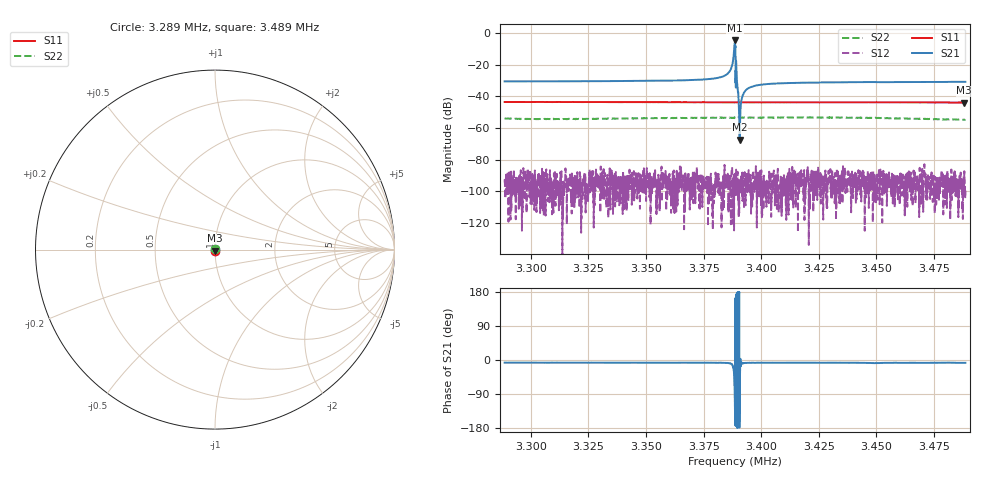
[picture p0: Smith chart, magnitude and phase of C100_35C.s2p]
# Hz S dB R 50.000
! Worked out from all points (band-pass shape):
!   6401 points, 3.289 MHz to 3.489 MHz, reference 50 ohm
!   highest |S21| = -4.72 dB at 3.389 MHz (marker M1); lowest = -67.4 dB at 3.391 MHz (marker M2)
!   |S21| within 3 dB of the highest: 3.38838 MHz to 3.388645 MHz (265.2 Hz wide, 0.00783 % of centre)
!   lowest |S11| = -44.0 dB at 3.488 MHz (marker M3), VSWR 1.01, Z = 49.9 - j0.626 ohm
!   |S11| at or under -10 dB: start of sweep to end of sweep
!   |S22| runs from -54.9 to -53.0 dB; largest |S21 - S12| = 0.58
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3288594  -43.61 -95.0  -30.59 -7.0  -92.53 -0.1  -54.04 102.1
3321938  -43.64 -95.4  -30.48 -7.1  -105.86 128.6  -54.30 98.5
3355282  -43.73 -96.7  -30.19 -7.2  -90.37 -29.0  -53.77 95.9
3381938  -43.82 -96.2  -28.08 -7.2  -98.37 -128.1  -53.44 99.2
3386094  -43.79 -96.1  -24.61 -8.4  -90.96 -34.0  -53.74 100.0
3387000  -43.81 -96.3  -22.17 -10.1  -90.14 34.1  -53.64 99.6
3387469  -43.82 -96.2  -19.55 -13.2  -96.07 -0.7  -53.76 99.5
3387844  -43.81 -96.2  -16.44 -18.6  -96.82 26.5  -53.54 100.2
3388594  -43.88 -96.4  -4.72 -126.3  -88.93 32.3  -53.12 103.7
3389219  -43.83 -96.2  -23.37 -159.8  -92.15 80.7  -53.35 100.0
3389875  -43.83 -96.1  -37.42 -174.1  -101.01 133.2  -53.44 100.0
3390313  -43.82 -96.0  -48.48 174.4  -95.01 -46.9  -53.45 101.0
3390625  -43.83 -96.2  -67.36 -122.3  -93.00 86.3  -53.42 100.4
3391282  -43.83 -96.1  -43.61 -6.4  -92.92 18.7  -53.54 100.1
3391969  -43.84 -96.1  -39.31 -8.0  -93.61 -76.4  -53.48 100.5
3392844  -43.82 -96.0  -36.96 -7.7  -89.37 46.4  -53.42 100.3
3396125  -43.82 -96.1  -33.80 -7.4  -105.61 -123.8  -53.51 100.1
3403969  -43.85 -96.0  -32.14 -7.2  -88.66 84.0  -53.49 101.0
3421938  -43.79 -96.1  -31.35 -7.2  -90.93 92.5  -53.44 99.1
3455282  -43.82 -96.3  -31.07 -7.4  -95.88 146.5  -53.85 94.3
3488125  -44.01 -95.9  -30.85 -7.4  -87.33 32.2  -54.88 95.3
3488594  -43.96 -96.0  -30.86 -7.4  -99.56 151.3  -54.65 94.7
